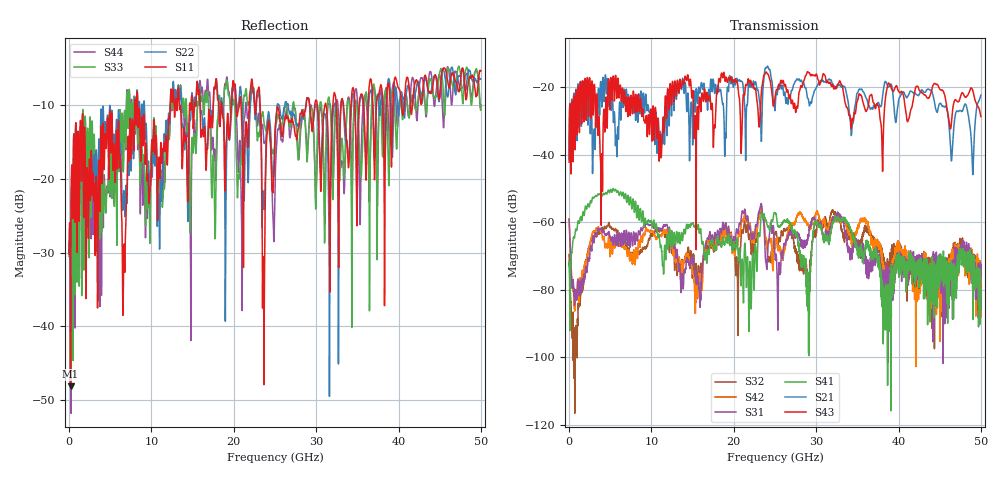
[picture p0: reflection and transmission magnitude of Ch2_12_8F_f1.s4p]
!Agilent Technologies,N5247A,US51170199,A.09.90.13
!Agilent N5247A: A.09.90.13
!Date: Tuesday, December 08, 2015 12:31:45
!Correction: S11(Full 4 Port(1,2,3,4))
!S12(Full 4 Port(1,2,3,4))
!S13(Full 4 Port(1,2,3,4))
!S14(Full 4 Port(1,2,3,4))
!S21(Full 4 Port(1,2,3,4))
!S22(Full 4 Port(1,2,3,4))
!S23(Full 4 Port(1,2,3,4))
!S24(Full 4 Port(1,2,3,4))
!S31(Full 4 Port(1,2,3,4))
!S32(Full 4 Port(1,2,3,4))
!S33(Full 4 Port(1,2,3,4))
!S34(Full 4 Port(1,2,3,4))
!S41(Full 4 Port(1,2,3,4))
!S42(Full 4 Port(1,2,3,4))
!S43(Full 4 Port(1,2,3,4))
!S44(Full 4 Port(1,2,3,4))
!S4P File: Measurements: <S11,S12,S13,S14>,
!<S21,S22,S23,S24>,
!<S31,S32,S33,S34>,
!<S41,S42,S43,S44>:
# Hz S  dB  R 50
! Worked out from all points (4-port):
!   3201 points, 10 MHz to 50 GHz, reference 50 ohm
!   strongest paths, dB at 10 MHz, 12.51 GHz, 25 GHz, 37.5 GHz, 50 GHz:
!     S43: -42.2, -20.0, -23.4, -25.5, -28.8
!     S21: -41.4, -21.7, -26.9, -24.6, -22.4
!     S41: -72.9, -63.3, -57.2, -70.1, -80.1
!     S31: -59.3, -64.2, -70.0, -70.3, -78.5
!     S42: -59.0, -66.3, -67.6, -65.9, -81.2
!     S32: -69.6, -69.3, -63.8, -66.8, -74.3
!   lowest |S11| = -48.1 dB at 181.8 MHz (marker M1), VSWR 1.01, Z = 50.1 - j0.385 ohm
!   |S11| at or under -10 dB: start of sweep to 7.974 GHz; 8.34 GHz to 12.29 GHz (3.947 GHz wide, 38.3 % of centre); 23.2 GHz to 28.79 GHz (5.594 GHz wide, 21.5 % of centre)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
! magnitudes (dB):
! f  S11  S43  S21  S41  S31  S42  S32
! 10 MHz  -30.2  -42.2  -41.4  -72.9  -59.3  -59.0  -69.6
! 181.8 MHz  -48.1  -29.2  -30.6  -73.6  -69.7  -69.6  -81.2
! 3.915 GHz  -13.1  -50.3  -20.6  -51.6  -62.1  -62.8  -63.3
! 5.493 GHz  -15.6  -23.4  -27.4  -50.7  -64.1  -66.6  -62.4
! 22.21 GHz  -6.6  -19.6  -20.1  -72.8  -64.9  -65.3  -68.7
! 23.65 GHz  -39.7  -16.7  -17.8  -57.7  -59.9  -58.6  -58.4
! 50 GHz  -5.4  -28.8  -22.4  -80.1  -78.5  -81.2  -74.3
